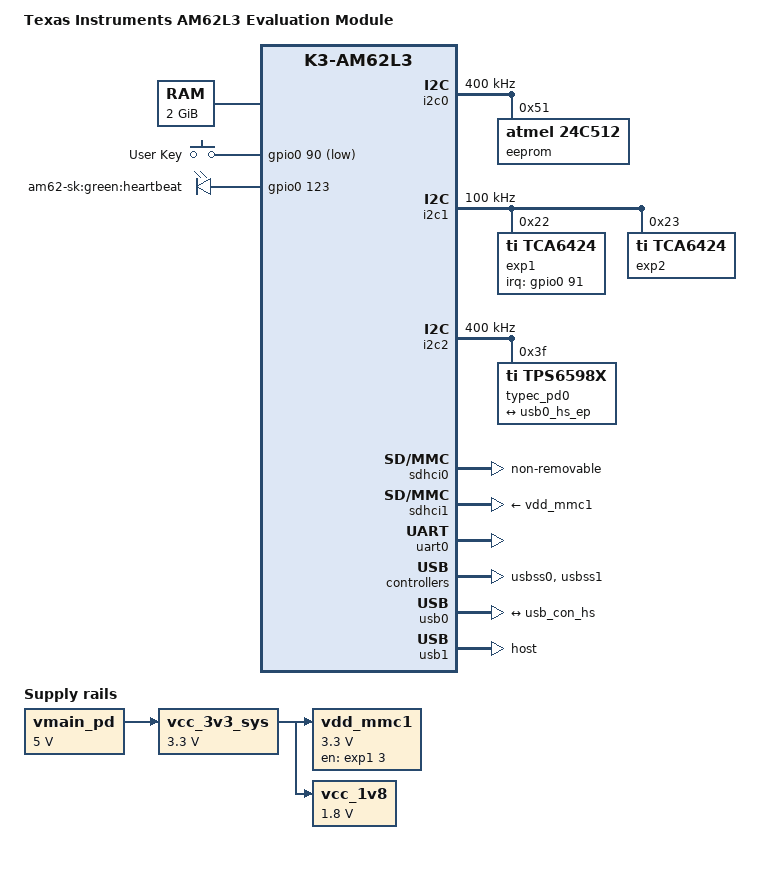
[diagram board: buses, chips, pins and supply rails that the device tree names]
// SPDX-License-Identifier: GPL-2.0-only or MIT
/*
 * Device Tree file for the AM62L3 Evaluation Module
 * Copyright (C) 2025 Texas Instruments Incorporated - https://www.ti.com/
 *
 * Technical Reference Manual: https://www.ti.com/lit/pdf/sprujb4
 * Data Sheet: https://www.ti.com/lit/pdf/sprspa1
 */

/dts-v1/;

#include <dt-bindings/gpio/gpio.h>
#include <dt-bindings/input/input.h>
#include <dt-bindings/leds/common.h>
#include <dt-bindings/net/ti-dp83867.h>
#include <dt-bindings/thermal/thermal.h>
#include "k3-am62l3.dtsi"
#include "k3-pinctrl.h"

/ {
	compatible = "ti,am62l3-evm", "ti,am62l3";
	model = "Texas Instruments AM62L3 Evaluation Module";

	chosen {
		stdout-path = &uart0;
	};

	memory@80000000 {
		reg = <0x00000000 0x80000000 0x00000000 0x80000000>;
		device_type = "memory";
		bootph-all;
	};

	gpio_keys: gpio-keys {
		compatible = "gpio-keys";
		autorepeat;
		pinctrl-names = "default";
		pinctrl-0 = <&usr_button_pins_default>;

		usr: button-usr {
			label = "User Key";
			linux,code = <BTN_0>;
			gpios = <&gpio0 90 GPIO_ACTIVE_LOW>;
		};
	};

	leds {
		compatible = "gpio-leds";
		pinctrl-names = "default";
		pinctrl-0 = <&usr_led_pins_default>;

		led-0 {
			label = "am62-sk:green:heartbeat";
			gpios = <&gpio0 123 GPIO_ACTIVE_HIGH>;
			linux,default-trigger = "heartbeat";
			function = LED_FUNCTION_HEARTBEAT;
			default-state = "on";
		};
	};

	thermal-zones {
		wkup0-thermal {
			polling-delay-passive = <250>;	/* milliSeconds */
			polling-delay = <500>;		/* milliSeconds */
			thermal-sensors = <&vtm0 0>;

			trips {
				crit0 {
					temperature = <125000>;
					hysteresis = <2000>;
					type = "critical";
				};
			};
		};
	};

	vmain_pd: regulator-0 {
		/* TPS65988 PD CONTROLLER OUTPUT */
		compatible = "regulator-fixed";
		regulator-name = "vmain_pd";
		regulator-min-microvolt = <5000000>;
		regulator-max-microvolt = <5000000>;
		regulator-always-on;
		regulator-boot-on;
		bootph-all;
	};

	vcc_3v3_sys: regulator-1 {
		/* output of LM61460-Q1 */
		compatible = "regulator-fixed";
		regulator-name = "vcc_3v3_sys";
		regulator-min-microvolt = <3300000>;
		regulator-max-microvolt = <3300000>;
		vin-supply = <&vmain_pd>;
		regulator-always-on;
		regulator-boot-on;
	};

	vdd_mmc1: regulator-2 {
		/* TPS22918DBVR */
		compatible = "regulator-fixed";
		regulator-name = "vdd_mmc1";
		regulator-min-microvolt = <3300000>;
		regulator-max-microvolt = <3300000>;
		regulator-boot-on;
		enable-active-high;
		vin-supply = <&vcc_3v3_sys>;
		gpio = <&exp1 3 GPIO_ACTIVE_HIGH>;
		bootph-all;
	};

	vcc_1v8: regulator-3 {
		/* output of TPS6282518DMQ */
		compatible = "regulator-fixed";
		regulator-name = "vcc_1v8";
		regulator-min-microvolt = <1800000>;
		regulator-max-microvolt = <1800000>;
		vin-supply = <&vcc_3v3_sys>;
		regulator-always-on;
		regulator-boot-on;
	};
};

&gpio0 {
	bootph-all;
};

&i2c0 {
	pinctrl-names = "default";
	pinctrl-0 = <&i2c0_pins_default>;
	clock-frequency = <400000>;
	status = "okay";

	eeprom@51 {
		/* AT24C512C-MAHM-T or M24512-DFMC6TG */
		compatible = "atmel,24c512";
		reg = <0x51>;
	};
};

&i2c1 {
	pinctrl-names = "default";
	pinctrl-0 = <&i2c1_pins_default>;
	clock-frequency = <100000>;
	status = "okay";

	exp1: gpio@22 {
		compatible = "ti,tca6424";
		reg = <0x22>;
		gpio-controller;
		#gpio-cells = <2>;
		gpio-line-names = "", "",
				  "UART1_FET_SEL", "MMC1_SD_EN",
				  "VPP_LDO_EN", "EXP_PS_3V3_EN",
				  "UART1_FET_BUF_EN", "", "",
				  "", "DSI_GPIO0", "DSI_GPIO1",
				  "", "BT_UART_WAKE_SOC_3V3",
				  "USB_TYPEA_OC_INDICATION", "",
				  "", "WLAN_ALERTn", "", "",
				  "HDMI_INTn", "TEST_GPIO2",
				  "MCASP0_FET_EN", "MCASP0_BUF_BT_EN",
				  "MCASP0_FET_SEL", "DSI_EDID",
				  "PD_I2C_IRQ", "IO_EXP_TEST_LED";

		interrupt-parent = <&gpio0>;
		interrupts = <91 IRQ_TYPE_EDGE_FALLING>;
		interrupt-controller;
		#interrupt-cells = <2>;

		pinctrl-names = "default";
		pinctrl-0 = <&gpio0_ioexp_intr_pins_default>;
		bootph-all;
	};

	exp2: gpio@23 {
		compatible = "ti,tca6424";
		reg = <0x23>;
		gpio-controller;
		#gpio-cells = <2>;
		gpio-line-names = "BT_EN_SOC", "VOUT0_FET_SEL0",
				  "", "",
				  "", "",
				  "", "",
				  "WL_LT_EN", "EXP_PS_5V0_EN",
				  "TP45", "TP48",
				  "TP46", "TP49",
				  "TP47", "TP50",
				  "GPIO_QSPI_NAND_RSTn", "GPIO_HDMI_RSTn",
				  "GPIO_CPSW1_RST", "GPIO_CPSW2_RST",
				  "", "GPIO_AUD_RSTn",
				  "GPIO_eMMC_RSTn", "SoC_WLAN_SDIO_RST";
		bootph-all;
	};

};

&i2c2 {
	pinctrl-names = "default";
	pinctrl-0 = <&i2c2_pins_default>;
	clock-frequency = <400000>;
	status = "okay";

	typec_pd0: tps658x@3f {
		compatible = "ti,tps6598x";
		reg = <0x3f>;

		connector {
			compatible = "usb-c-connector";
			label = "USB-C";
			self-powered;
			data-role = "dual";
			power-role = "sink";

			port {
				usb_con_hs: endpoint {
					remote-endpoint = <&usb0_hs_ep>;
				};
			};
		};
	};
};

&pmx0 {
	gpio0_ioexp_intr_pins_default: gpio0-ioexp-intr-default-pins {
		pinctrl-single,pins = <
			AM62LX_IOPAD(0x01b0, PIN_INPUT, 7) /* (B12) SPI0_D1.GPIO0_91 */
		>;
		bootph-all;
	};

	i2c0_pins_default: i2c0-default-pins {
		pinctrl-single,pins = <
			AM62LX_IOPAD(0x01cc, PIN_INPUT_PULLUP, 0) /* (B7) I2C0_SCL */
			AM62LX_IOPAD(0x01d0, PIN_INPUT_PULLUP, 0) /* (A7) I2C0_SDA */
		>;
		bootph-all;
	};

	i2c1_pins_default: i2c1-default-pins {
		pinctrl-single,pins = <
			AM62LX_IOPAD(0x01d4, PIN_INPUT_PULLUP, 0) /* (D7) I2C1_SCL */
			AM62LX_IOPAD(0x01d8, PIN_INPUT_PULLUP, 0) /* (A6) I2C1_SDA */
		>;
		bootph-all;
	};

	i2c2_pins_default: i2c2-default-pins {
		pinctrl-single,pins = <
			AM62LX_IOPAD(0x01dc, PIN_INPUT_PULLUP, 0) /* (B8) I2C2_SCL */
			AM62LX_IOPAD(0x01e0, PIN_INPUT_PULLUP, 0) /* (D8) I2C2_SDA */
		>;
	};

	mmc0_pins_default: mmc0-default-pins {
		pinctrl-single,pins = <
			AM62LX_IOPAD(0x0214, PIN_INPUT_PULLUP, 0) /* (D2) MMC0_CMD */
			AM62LX_IOPAD(0x020c, PIN_OUTPUT, 0) /* (B2) MMC0_CLK */
			AM62LX_IOPAD(0x0208, PIN_INPUT_PULLUP, 0) /* (D3) MMC0_DAT0 */
			AM62LX_IOPAD(0x0204, PIN_INPUT_PULLUP, 0) /* (D4) MMC0_DAT1 */
			AM62LX_IOPAD(0x0200, PIN_INPUT_PULLUP, 0) /* (C1) MMC0_DAT2 */
			AM62LX_IOPAD(0x01fc, PIN_INPUT_PULLUP, 0) /* (C2) MMC0_DAT3 */
			AM62LX_IOPAD(0x01f8, PIN_INPUT_PULLUP, 0) /* (C4) MMC0_DAT4 */
			AM62LX_IOPAD(0x01f4, PIN_INPUT_PULLUP, 0) /* (B3) MMC0_DAT5 */
			AM62LX_IOPAD(0x01f0, PIN_INPUT_PULLUP, 0) /* (A3) MMC0_DAT6 */
			AM62LX_IOPAD(0x01ec, PIN_INPUT_PULLUP, 0) /* (B4) MMC0_DAT7 */
		>;
		bootph-all;
	};

	mmc1_pins_default: mmc1-default-pins {
		pinctrl-single,pins = <
			AM62LX_IOPAD(0x0230, PIN_INPUT, 0) /* (Y3) MMC1_CMD */
			AM62LX_IOPAD(0x0228, PIN_OUTPUT, 0) /* (Y2) MMC1_CLK */
			AM62LX_IOPAD(0x0224, PIN_INPUT, 0) /* (AA1) MMC1_DAT0 */
			AM62LX_IOPAD(0x0220, PIN_INPUT_PULLUP, 0) /* (Y4) MMC1_DAT1 */
			AM62LX_IOPAD(0x021c, PIN_INPUT_PULLUP, 0) /* (AA2) MMC1_DAT2 */
			AM62LX_IOPAD(0x0218, PIN_INPUT_PULLUP, 0) /* (AB2) MMC1_DAT3 */
			AM62LX_IOPAD(0x0234, PIN_INPUT, 0) /* (B6) MMC1_SDCD */
		>;
		bootph-all;
	};

	uart0_pins_default: uart0-default-pins {
		pinctrl-single,pins = <
			AM62LX_IOPAD(0x01b4, PIN_INPUT, 0) /* (D13) UART0_RXD */
			AM62LX_IOPAD(0x01b8, PIN_OUTPUT, 0) /* (C13) UART0_TXD */
		>;
		bootph-all;
	};

	usb1_default_pins: usb1-default-pins {
		pinctrl-single,pins = <
			AM62LX_IOPAD(0x0248, PIN_INPUT | PIN_DS_PULLUD_ENABLE | PIN_DS_PULL_UP, 0) /* (A5) USB1_DRVVBUS */
		>;
	};

	usr_button_pins_default: usr-button-default-pins {
		pinctrl-single,pins = <
			AM62LX_IOPAD(0x01ac, PIN_INPUT, 7) /* (E12) SPI0_D0.GPIO0_90 */
		>;
	};

	usr_led_pins_default: usr-led-default-pins {
		pinctrl-single,pins = <
			AM62LX_IOPAD(0x0238, PIN_OUTPUT, 7) /* (D24) MMC1_SDWP.GPIO0_123 */
		>;
	};

};

&sdhci0 {
	/* eMMC */
	pinctrl-names = "default";
	pinctrl-0 = <&mmc0_pins_default>;
	non-removable;
	status = "okay";
	bootph-all;
};

&sdhci1 {
	/* SD/MMC */
	pinctrl-names = "default";
	pinctrl-0 = <&mmc1_pins_default>;
	vmmc-supply = <&vdd_mmc1>;
	disable-wp;
	status = "okay";
	bootph-all;
};

&uart0 {
	pinctrl-0 = <&uart0_pins_default>;
	pinctrl-names = "default";
	status = "okay";
	bootph-all;
};

&usbss0 {
	status = "okay";
	ti,vbus-divider;
};

&usb0 {
	usb-role-switch;

	port {
		usb0_hs_ep: endpoint {
			remote-endpoint = <&usb_con_hs>;
		};
	};
};

&usbss1 {
	status = "okay";
	ti,vbus-divider;
};

&usb1 {
	dr_mode = "host";
	pinctrl-names = "default";
	pinctrl-0 = <&usb1_default_pins>;
};
